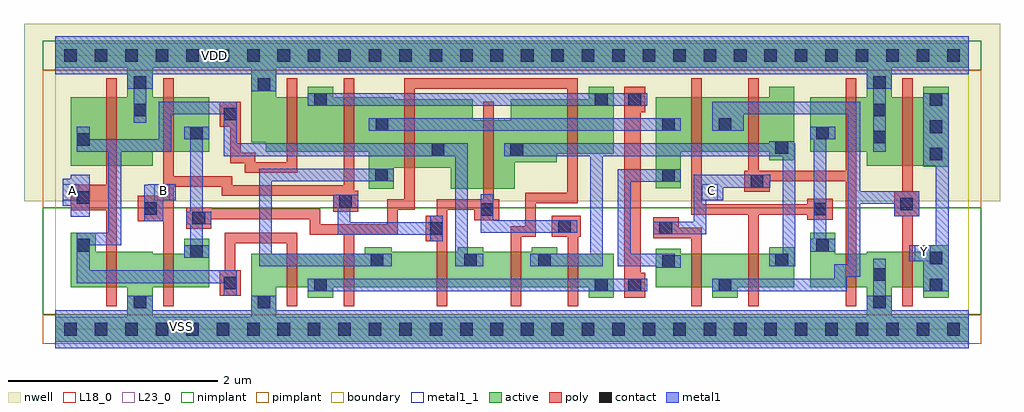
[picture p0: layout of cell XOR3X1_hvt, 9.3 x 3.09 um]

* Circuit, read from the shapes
.subckt XOR3X1_hvt A B C VDD VSS Y
M1 VSS A n1 VSS nfet w=0.34u l=0.1u
M2 n2 B VSS VSS nfet w=0.32u l=0.1u
M3 n3 n1 VSS VSS nfet w=0.32u l=0.1u
M4 n4 n2 n3 VSS nfet w=0.32u l=0.1u
M5 n1 B n4 VSS nfet w=0.34u l=0.1u
M6 n5 n2 n1 VSS nfet w=0.34u l=0.1u
M7 n3 B n5 VSS nfet w=0.32u l=0.1u
M8 n6 C n4 VSS nfet w=0.32u l=0.1u
M9 n5 n7 n6 VSS nfet w=0.32u l=0.1u
M10 VSS C n7 VSS nfet w=0.32u l=0.1u
M11 Y n6 VSS VSS nfet w=0.34u l=0.1u
M12 VDD A n1 VDD pfet w=0.65u l=0.1u
M13 n2 B VDD VDD pfet w=0.52u l=0.1u
M14 n3 n1 VDD VDD pfet w=0.52u l=0.1u
M15 n4 B n3 VDD pfet w=0.52u l=0.1u
M16 n1 n2 n4 VDD pfet w=0.65u l=0.1u
M17 n5 B n1 VDD pfet w=0.65u l=0.1u
M18 n3 n2 n5 VDD pfet w=0.52u l=0.1u
M19 n6 n7 n4 VDD pfet w=0.52u l=0.1u
M20 n5 C n6 VDD pfet w=0.52u l=0.1u
M21 VDD C n7 VDD pfet w=0.52u l=0.1u
M22 Y n6 VDD VDD pfet w=0.65u l=0.1u
.ends

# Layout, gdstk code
import gdstk
lib = gdstk.Library(unit=1e-6, precision=5e-10)
def R(c, l, rs):  # rectangles x0, y0, x1, y1
    for r in rs: c.add(gdstk.rectangle(r[:2], r[2:], *l))
def A(c, l, x, y, w, h, nx, ny, dx, dy):  # array of equal rectangles
    R(c, l, [(x+i*dx, y+j*dy, x+i*dx+w, y+j*dy+h) for i in range(nx) for j in range(ny)])
def P(c, l, *ps):  # polygons
    for p in ps: c.add(gdstk.Polygon(p, *l))
active = (1, 0)
nwell = (2, 0)
poly = (3, 0)
nimplant = (4, 0)
pimplant = (5, 0)
contact = (6, 0)
metal1 = (7, 0)
metal1_1 = (7, 1)
L18_0 = (18, 0)
L23_0 = (23, 0)
boundary = (62, 0)

xor3x1_hvt = lib.new_cell('XOR3X1_hvt')
P(xor3x1_hvt, active, [(7.04,2.31),(6.8,2.31),(6.8,2.21),(5.72,2.21),(5.72,1.345),(5.96,1.345),(5.96,1.69),(6.8,1.69),(6.8,1.61),(7.04,1.61)],
  [(8.7,2.73),(0,2.73),(0,2.49),(0.685,2.49),(0.685,2.21),(0.145,2.21),(0.145,1.56),(0.925,1.56),(0.925,1.69),(1.465,1.69),(1.465,2.21),(0.925,2.21),(0.925,2.49),(1.865,2.49),(1.865,1.78),(2.005,1.78),(2.005,1.69),(2.985,1.69),(2.985,1.34),(3.225,1.34),(3.225,1.54),(3.765,1.54),(3.765,1.34),(4.375,1.34),(4.375,1.59),(4.775,1.59),(4.775,1.67),(5.32,1.67),(5.32,2.31),(5.08,2.31),(5.08,2.19),(4.34,2.19),(4.34,1.99),(3.975,1.99),(3.975,2.19),(3.225,2.19),(3.225,2.21),(2.645,2.21),(2.645,2.31),(2.405,2.31),(2.405,2.21),(2.105,2.21),(2.105,2.49),(7.73,2.49),(7.73,2.21),(7.19,2.21),(7.19,1.69),(7.73,1.69),(7.73,1.56),(8.27,1.56),(8.27,1.55),(8.51,1.55),(8.51,2.31),(8.27,2.31),(8.27,2.21),(7.97,2.21),(7.97,2.49),(8.7,2.49)],
  [(8.7,0.12),(7.97,0.12),(7.97,0.4),(8.27,0.4),(8.27,0.3),(8.51,0.3),(8.51,0.8),(8.27,0.8),(8.27,0.74),(7.73,0.74),(7.73,0.72),(7.43,0.72),(7.43,0.92),(7.19,0.92),(7.19,0.4),(7.73,0.4),(7.73,0.12),(2.105,0.12),(2.105,0.4),(2.405,0.4),(2.405,0.3),(2.645,0.3),(2.645,0.4),(5.08,0.4),(5.08,0.3),(5.32,0.3),(5.32,0.72),(4.78,0.72),(4.78,0.78),(4.54,0.78),(4.54,0.74),(4.075,0.74),(4.075,0.78),(3.835,0.78),(3.835,0.74),(3.205,0.74),(3.205,0.78),(2.945,0.78),(2.945,0.72),(1.865,0.72),(1.865,0.12),(0.925,0.12),(0.925,0.4),(1.465,0.4),(1.465,0.86),(1.225,0.86),(1.225,0.72),(0.925,0.72),(0.925,0.74),(0.385,0.74),(0.385,0.92),(0.145,0.92),(0.145,0.4),(0.685,0.4),(0.685,0.12),(0,0.12),(0,-0.12),(8.7,-0.12)],
  [(7.04,0.78),(6.8,0.78),(6.8,0.72),(5.96,0.72),(5.96,0.765),(5.72,0.765),(5.72,0.4),(6.26,0.4),(6.26,0.3),(6.5,0.3),(6.5,0.4),(7.04,0.4)])
R(xor3x1_hvt, nwell, [(-0.3,1.22,9,2.91)])
P(xor3x1_hvt, poly, [(2.885,1.32),(2.845,1.32),(2.845,2.39),(2.745,2.39),(2.745,1.37),(1.685,1.37),(1.685,1.46),(1.125,1.46),(1.125,2.39),(1.025,2.39),(1.025,1.27),(0.785,1.27),(0.785,1.03),(1.025,1.03),(1.025,0.22),(1.125,0.22),(1.125,1.36),(1.585,1.36),(1.585,1.27),(2.645,1.27),(2.645,1.12),(2.885,1.12)],
  [(7.63,2.39),(7.53,2.39),(7.53,1.51),(6.7,1.51),(6.7,2.39),(6.6,2.39),(6.6,1.51),(6.565,1.51),(6.565,1.31),(6.805,1.31),(6.805,1.41),(7.53,1.41),(7.53,0.22),(7.63,0.22)],
  [(5.62,0.54),(5.575,0.54),(5.575,2.07),(5.62,2.07),(5.62,2.31),(5.42,2.31),(5.42,0.3),(5.62,0.3)],
  [(8.23,1.315),(8.17,1.315),(8.17,2.39),(8.07,2.39),(8.07,1.315),(7.99,1.315),(7.99,1.075),(8.07,1.075),(8.07,0.22),(8.17,0.22),(8.17,1.075),(8.23,1.075)],
  [(7.405,1.245),(7.165,1.245),(7.165,1.19),(6.16,1.19),(6.16,2.39),(6.06,2.39),(6.06,1.09),(6.6,1.09),(6.6,0.22),(6.7,0.22),(6.7,1.09),(7.165,1.09),(7.165,1.045),(7.405,1.045)],
  [(5.005,1.08),(4.73,1.08),(4.73,0.88),(4.88,0.88),(4.88,0.22),(4.98,0.22),(4.98,0.88),(5.005,0.88)],
  [(2.305,2.39),(2.205,2.39),(2.205,1.59),(1.905,1.59),(1.905,1.68),(1.765,1.68),(1.765,2.17),(1.565,2.17),(1.565,1.93),(1.665,1.93),(1.665,1.58),(1.805,1.58),(1.805,1.49),(2.305,1.49)],
  [(4.23,1.24),(4.175,1.24),(4.175,2.17),(4.075,2.17),(4.075,1.24),(3.635,1.24),(3.635,1.08),(3.53,1.08),(3.53,0.84),(3.635,0.84),(3.635,0.22),(3.735,0.22),(3.735,1.14),(3.99,1.14),(3.99,1.04),(4.23,1.04)],
  [(6.16,0.965),(5.94,0.965),(5.94,1.065),(5.695,1.065),(5.695,0.865),(6.06,0.865),(6.06,0.22),(6.16,0.22)],
  [(4.975,2.39),(3.325,2.39),(3.325,1.24),(3.16,1.24),(3.16,1),(2.525,1),(2.525,1.15),(1.485,1.15),(1.485,1.16),(1.245,1.16),(1.245,0.96),(1.485,0.96),(1.485,1.05),(2.425,1.05),(2.425,0.9),(2.745,0.9),(2.745,0.22),(2.845,0.22),(2.845,0.9),(3.26,0.9),(3.26,1.14),(3.425,1.14),(3.425,2.29),(4.875,2.29),(4.875,1.3),(4.475,1.3),(4.475,0.98),(4.34,0.98),(4.34,0.22),(4.44,0.22),(4.44,0.88),(4.575,0.88),(4.575,1.2),(4.975,1.2)],
  [(2.305,0.92),(1.615,0.92),(1.615,0.56),(1.565,0.56),(1.565,0.32),(1.765,0.32),(1.765,0.56),(1.715,0.56),(1.715,0.82),(2.205,0.82),(2.205,0.22),(2.305,0.22)],
  [(0.585,2.39),(0.485,2.39),(0.485,1.375),(0.145,1.375),(0.145,1.135),(0.485,1.135),(0.485,0.22),(0.585,0.22)])
R(xor3x1_hvt, nimplant, [(-0.12,0.14,8.82,1.16), (-0.12,2.47,8.82,2.75)])
R(xor3x1_hvt, pimplant, [(-0.12,-0.14,8.82,0.14), (-0.12,1.16,8.82,2.47)])
A(xor3x1_hvt, contact, 0.085, -0.06, 0.12, 0.12, 30, 2, 0.29, 2.61)
A(xor3x1_hvt, contact, 8.33, 1.61, 0.12, 0.12, 1, 3, 0, 0.26)
A(xor3x1_hvt, contact, 7.79, 1.77, 0.12, 0.12, 1, 3, 0, 0.26)
R(xor3x1_hvt, contact, [(0.745,0.2,0.865,0.32), (1.925,0.2,2.045,0.32), (7.79,0.2,7.91,0.32), (2.465,0.36,2.585,0.48), (5.14,0.36,5.26,0.48), (5.46,0.36,5.58,0.48), (6.32,0.36,6.44,0.48), (8.33,0.36,8.45,0.48), (1.605,0.38,1.725,0.5), (7.79,0.46,7.91,0.58), (5.78,0.585,5.9,0.705), (3.005,0.6,3.125,0.72), (3.895,0.6,4.015,0.72), (4.6,0.6,4.72,0.72), (6.86,0.6,6.98,0.72), (8.33,0.62,8.45,0.74), (1.285,0.68,1.405,0.8), (0.205,0.74,0.325,0.86), (7.25,0.74,7.37,0.86), (3.57,0.9,3.69,1.02), (5.755,0.905,5.875,1.025), (4.79,0.92,4.91,1.04), (1.305,1,1.425,1.12), (4.05,1.08,4.17,1.2), (7.225,1.085,7.345,1.205), (0.845,1.09,0.965,1.21), (8.05,1.135,8.17,1.255), (2.705,1.16,2.825,1.28), (0.205,1.195,0.325,1.315), (6.625,1.35,6.745,1.47), (5.78,1.405,5.9,1.525), (3.045,1.41,3.165,1.53), (3.585,1.65,3.705,1.77), (4.335,1.65,4.455,1.77), (6.86,1.67,6.98,1.79), (0.205,1.75,0.325,1.87), (1.285,1.81,1.405,1.93), (7.25,1.81,7.37,1.93), (3.05,1.89,3.17,2.01), (5.78,1.89,5.9,2.01), (6.32,1.89,6.44,2.01), (1.605,1.99,1.725,2.11), (0.745,2.03,0.865,2.15), (2.465,2.13,2.585,2.25), (5.14,2.13,5.26,2.25), (5.46,2.13,5.58,2.25), (1.925,2.27,2.045,2.39), (0.745,2.29,0.865,2.41)])
R(xor3x1_hvt, metal1, [(2.405,0.36,5.64,0.48), (8.135,0.65,8.395,0.8), (0.845,1.03,1.025,1.375), (0.145,1.07,0.325,1.47), (0.07,1.175,0.22,1.435), (0.885,1.23,1.145,1.38), (6.105,1.23,6.365,1.38), (2.985,1.89,5.96,2.01), (2.405,2.13,5.64,2.25)])
P(xor3x1_hvt, metal1, [(8.7,2.79),(0,2.79),(0,2.43),(0.685,2.43),(0.685,2.29),(0.745,2.29),(0.745,1.97),(0.865,1.97),(0.865,2.29),(0.925,2.29),(0.925,2.43),(1.865,2.43),(1.865,2.27),(2.105,2.27),(2.105,2.43),(7.73,2.43),(7.73,2.29),(7.79,2.29),(7.79,1.69),(7.91,1.69),(7.91,2.29),(7.97,2.29),(7.97,2.43),(8.7,2.43)],
  [(3.69,1.08),(3.57,1.08),(3.57,1.02),(2.81,1.02),(2.81,1.16),(2.885,1.16),(2.885,1.28),(2.645,1.28),(2.645,1.16),(2.69,1.16),(2.69,0.9),(3.57,0.9),(3.57,0.84),(3.69,0.84)],
  [(4.97,1.04),(4.17,1.04),(4.17,1.285),(4.05,1.285),(4.05,0.92),(4.97,0.92)],
  [(8.51,2.25),(8.27,2.25),(8.27,1.56),(8.39,1.56),(8.39,0.8),(8.27,0.8),(8.27,0.36),(8.51,0.36)],
  [(5.96,0.705),(5.9,0.705),(5.9,0.72),(5.48,0.72),(5.48,1.405),(5.96,1.405),(5.96,1.525),(5.36,1.525),(5.36,0.6),(5.72,0.6),(5.72,0.585),(5.96,0.585)],
  [(8.7,0.18),(7.97,0.18),(7.97,0.32),(7.91,0.32),(7.91,0.67),(7.79,0.67),(7.79,0.32),(7.73,0.32),(7.73,0.18),(2.105,0.18),(2.105,0.32),(1.865,0.32),(1.865,0.18),(0.925,0.18),(0.925,0.32),(0.685,0.32),(0.685,0.18),(0,0.18),(0,-0.18),(8.7,-0.18)],
  [(6.81,1.47),(6.08,1.47),(6.08,1.025),(5.695,1.025),(5.695,0.905),(6.2,0.905),(6.2,1.35),(6.81,1.35)],
  [(7.05,1.77),(7.04,1.77),(7.04,1.79),(6.8,1.79),(6.8,1.77),(4.275,1.77),(4.275,1.65),(5.095,1.65),(5.095,0.72),(4.525,0.72),(4.525,0.6),(5.215,0.6),(5.215,1.65),(6.93,1.65),(6.93,0.72),(6.8,0.72),(6.8,0.6),(7.05,0.6)],
  [(7.43,0.86),(7.345,0.86),(7.345,1.81),(7.43,1.81),(7.43,1.93),(7.19,1.93),(7.19,1.81),(7.225,1.81),(7.225,0.86),(7.19,0.86),(7.19,0.74),(7.43,0.74)],
  [(8.23,1.315),(7.67,1.315),(7.67,2.17),(6.26,2.17),(6.26,1.89),(6.56,1.89),(6.56,2.05),(7.55,2.05),(7.55,0.62),(7.42,0.62),(7.42,0.48),(6.26,0.48),(6.26,0.36),(7.54,0.36),(7.54,0.5),(7.67,0.5),(7.67,1.195),(7.99,1.195),(7.99,1.075),(8.23,1.075)],
  [(4.075,0.72),(3.93,0.72),(3.93,1.77),(1.725,1.77),(1.725,2.17),(0.985,2.17),(0.985,1.81),(0.325,1.81),(0.325,1.93),(0.205,1.93),(0.205,1.69),(0.505,1.69),(0.505,0.92),(0.205,0.92),(0.205,0.44),(1.605,0.44),(1.605,0.32),(1.725,0.32),(1.725,0.56),(0.325,0.56),(0.325,0.8),(0.625,0.8),(0.625,1.69),(1.105,1.69),(1.105,2.05),(1.605,2.05),(1.605,1.65),(3.81,1.65),(3.81,0.6),(4.075,0.6)],
  [(1.485,1.12),(1.405,1.12),(1.405,1.81),(1.465,1.81),(1.465,1.93),(1.225,1.93),(1.225,1.81),(1.285,1.81),(1.285,1.12),(1.245,1.12),(1.245,1),(1.285,1),(1.285,0.8),(1.225,0.8),(1.225,0.68),(1.465,0.68),(1.465,0.8),(1.405,0.8),(1.405,1),(1.485,1)])
R(xor3x1_hvt, metal1_1, [(1.14,-0.03,1.26,0.09), (8.19,0.65,8.34,0.8), (0.07,1.23,0.22,1.38), (0.94,1.23,1.09,1.38), (6.16,1.23,6.31,1.38), (1.455,2.55,1.575,2.67)])
P(xor3x1_hvt, L18_0, [(7.19,0.4),(7.73,0.4),(7.73,0.14),(7.97,0.14),(7.97,0.4),(8.27,0.4),(8.27,0.3),(8.51,0.3),(8.51,0.8),(8.27,0.8),(8.27,0.74),(7.73,0.74),(7.73,0.72),(7.43,0.72),(7.43,0.92),(7.19,0.92)],
  [(5.72,0.4),(6.26,0.4),(6.26,0.3),(6.5,0.3),(6.5,0.4),(7.04,0.4),(7.04,0.78),(6.8,0.78),(6.8,0.72),(5.96,0.72),(5.96,0.765),(5.72,0.765)],
  [(1.865,0.14),(2.105,0.14),(2.105,0.4),(2.405,0.4),(2.405,0.3),(2.645,0.3),(2.645,0.4),(5.08,0.4),(5.08,0.3),(5.32,0.3),(5.32,0.72),(4.78,0.72),(4.78,0.78),(4.54,0.78),(4.54,0.74),(4.075,0.74),(4.075,0.78),(3.835,0.78),(3.835,0.74),(3.205,0.74),(3.205,0.78),(2.945,0.78),(2.945,0.72),(1.865,0.72)],
  [(0.145,0.4),(0.685,0.4),(0.685,0.14),(0.925,0.14),(0.925,0.4),(1.465,0.4),(1.465,0.86),(1.225,0.86),(1.225,0.72),(0.925,0.72),(0.925,0.74),(0.385,0.74),(0.385,0.92),(0.145,0.92)])
P(xor3x1_hvt, L23_0, [(5.72,1.345),(5.96,1.345),(5.96,1.69),(6.8,1.69),(6.8,1.61),(7.04,1.61),(7.04,2.31),(6.8,2.31),(6.8,2.21),(5.72,2.21)],
  [(1.865,1.78),(2.005,1.78),(2.005,1.69),(2.985,1.69),(2.985,1.34),(3.225,1.34),(3.225,1.54),(3.765,1.54),(3.765,1.34),(4.375,1.34),(4.375,1.59),(4.775,1.59),(4.775,1.67),(5.32,1.67),(5.32,2.31),(5.08,2.31),(5.08,2.19),(4.34,2.19),(4.34,1.99),(3.975,1.99),(3.975,2.19),(3.225,2.19),(3.225,2.21),(2.645,2.21),(2.645,2.31),(2.405,2.31),(2.405,2.21),(2.105,2.21),(2.105,2.47),(1.865,2.47)],
  [(0.145,1.56),(0.925,1.56),(0.925,1.69),(1.465,1.69),(1.465,2.21),(0.925,2.21),(0.925,2.47),(0.685,2.47),(0.685,2.21),(0.145,2.21)],
  [(7.19,1.69),(7.73,1.69),(7.73,1.56),(8.27,1.56),(8.27,1.55),(8.51,1.55),(8.51,2.31),(8.27,2.31),(8.27,2.21),(7.97,2.21),(7.97,2.47),(7.73,2.47),(7.73,2.21),(7.19,2.21)])
R(xor3x1_hvt, boundary, [(0,0,8.7,2.61)])
xor3x1_hvt.add(gdstk.FlexPath([(3.225,1.47),(2,1.47),(2,0.66),(3.205,0.66)], 0.12, ends="flush", simple_path=True, layer=7, datatype=0))  # metal1
xor3x1_hvt.add(gdstk.Label('VSS', (1.2,0.03), layer=7, texttype=3))
xor3x1_hvt.add(gdstk.Label('Y', (8.28,0.74), layer=7, texttype=3))
xor3x1_hvt.add(gdstk.Label('C', (6.25,1.32), layer=7, texttype=3))
xor3x1_hvt.add(gdstk.Label('B', (1.03,1.32), layer=7, texttype=3))
xor3x1_hvt.add(gdstk.Label('A', (0.16,1.32), layer=7, texttype=3))
xor3x1_hvt.add(gdstk.Label('VDD', (1.515,2.61), layer=7, texttype=3))

lib.write_gds('XOR3X1_hvt.gds')
